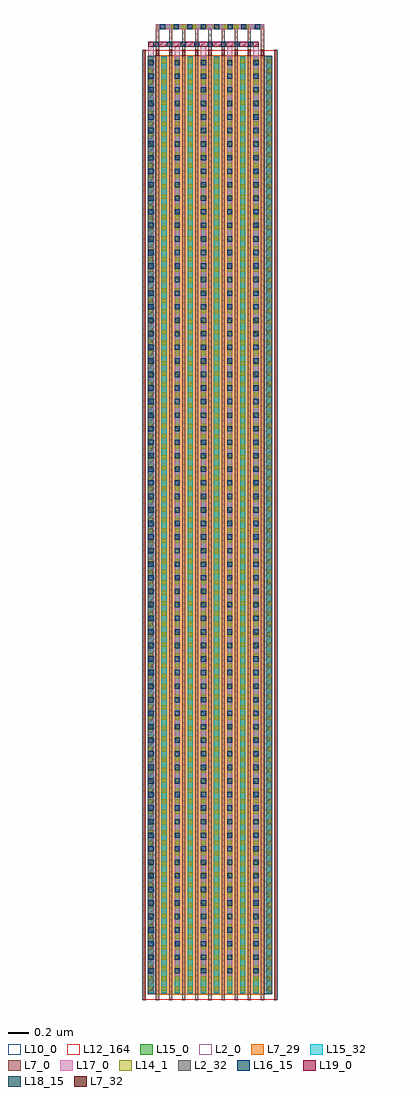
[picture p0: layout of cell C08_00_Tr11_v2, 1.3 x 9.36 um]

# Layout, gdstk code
import gdstk
lib = gdstk.Library(unit=1e-6, precision=1e-09)
def R(c, l, rs):  # rectangles x0, y0, x1, y1
    for r in rs: c.add(gdstk.rectangle(r[:2], r[2:], *l))
def A(c, l, x, y, w, h, nx, ny, dx, dy):  # array of equal rectangles
    R(c, l, [(x+i*dx, y+j*dy, x+i*dx+w, y+j*dy+h) for i in range(nx) for j in range(ny)])
L2_0 = (2, 0)
L2_32 = (2, 32)
L7_0 = (7, 0)
L7_29 = (7, 29)
L7_32 = (7, 32)
L10_0 = (10, 0)
L12_164 = (12, 164)
L14_1 = (14, 1)
L15_0 = (15, 0)
L15_32 = (15, 32)
L16_15 = (16, 15)
L17_0 = (17, 0)
L18_15 = (18, 15)
L19_0 = (19, 0)

c08_00_tr11_v2_srf_pmos_ = lib.new_cell('C08_00_Tr11_v2:SRF_Pmos:SRF_Source_ViaM1M2:SRF_ViaM1M2')
R(c08_00_tr11_v2_srf_pmos_, L15_0, [(0,-8.742,0.05,0.082)])
A(c08_00_tr11_v2_srf_pmos_, L16_15, 0, -8.71, 0.05, 0.05, 1, 68, 0, 0.13)
R(c08_00_tr11_v2_srf_pmos_, L17_0, [(0,-8.742,0.05,0.082)])

c_c08_00_tr11_v2_srf_pmos_ = lib.new_cell('C08_00_Tr11_v2:SRF_Pmos:SRF_Source_ViaM1M2')
c_c08_00_tr11_v2_srf_pmos_.add(gdstk.Reference(c08_00_tr11_v2_srf_pmos_, (-0.025,4.33)))

c_c08_00_tr11_v2_srf_pmos__ = lib.new_cell('C08_00_Tr11_v2:SRF_Pmos:SRF_Gate_ViaM0Mx:SRF_ViaM0M1')
R(c_c08_00_tr11_v2_srf_pmos__, L7_0, [(-0.01,-0.004,0.75,0.044)])
A(c_c08_00_tr11_v2_srf_pmos__, L14_1, 0, 0, 0.04, 0.04, 8, 1, 0.1, 0)
R(c_c08_00_tr11_v2_srf_pmos__, L15_0, [(-0.021,-0.005,0.761,0.045)])

c_c08_00_tr11_v2_srf_pmos___ = lib.new_cell('C08_00_Tr11_v2:SRF_Pmos:SRF_Gate_ViaM0Mx:SRF_ViaM1M2')
R(c_c08_00_tr11_v2_srf_pmos___, L15_0, [(-0.032,0,0.992,0.05)])
A(c_c08_00_tr11_v2_srf_pmos___, L16_15, 0, 0, 0.05, 0.05, 8, 1, 0.13, 0)
R(c_c08_00_tr11_v2_srf_pmos___, L17_0, [(-0.032,0,0.992,0.05)])

c_c08_00_tr11_v2_srf_pmos____ = lib.new_cell('C08_00_Tr11_v2:SRF_Pmos:SRF_Gate_ViaM0Mx')
c_c08_00_tr11_v2_srf_pmos____.add(gdstk.Reference(c_c08_00_tr11_v2_srf_pmos__, (-0.37,-0.02)))
c_c08_00_tr11_v2_srf_pmos____.add(gdstk.Reference(c_c08_00_tr11_v2_srf_pmos___, (-0.48,-0.025)))

c08_00_tr11_v2_srf_pmos = lib.new_cell('C08_00_Tr11_v2:SRF_Pmos')
R(c08_00_tr11_v2_srf_pmos, L2_0, [(-0.076,0.057,1.114,9.057)])
R(c08_00_tr11_v2_srf_pmos, L2_32, [(-0.076,0.057,0,9.057), (1.038,0.057,1.114,9.057)])
A(c08_00_tr11_v2_srf_pmos, L7_0, -0.126, 0, 0.03, 9.114, 11, 1, 0.126, 0)
A(c08_00_tr11_v2_srf_pmos, L7_0, 0, 9.114, 0.03, 0.2, 9, 1, 0.126, 0)
R(c08_00_tr11_v2_srf_pmos, L7_0, [(0,9.314,1.038,9.362)])
R(c08_00_tr11_v2_srf_pmos, L7_29, [(-0.005,0.052,1.043,9.062)])
A(c08_00_tr11_v2_srf_pmos, L7_32, 0, 9.057, 0.03, 0.057, 9, 1, 0.126, 0)
R(c08_00_tr11_v2_srf_pmos, L10_0, [(-0.132,0.001,1.17,9.113)])
R(c08_00_tr11_v2_srf_pmos, L12_164, [(-0.111,0.001,1.149,9.113)])
A(c08_00_tr11_v2_srf_pmos, L14_1, -0.068, 0.087, 0.04, 0.04, 10, 90, 0.126, 0.1)
R(c08_00_tr11_v2_srf_pmos, L15_0, [(-0.073,0.066,-0.023,9.048), (-0.073,0.066,-0.023,9.048), (0.053,0.066,0.103,9.048), (0.053,0.066,0.103,9.048), (0.179,0.066,0.229,9.048), (0.179,0.066,0.229,9.048), (0.305,0.066,0.355,9.048), (0.305,0.066,0.355,9.048), (0.431,0.066,0.481,9.048), (0.431,0.066,0.481,9.048), (0.557,0.066,0.607,9.048), (0.557,0.066,0.607,9.048), (0.683,0.066,0.733,9.048), (0.683,0.066,0.733,9.048), (0.809,0.066,0.859,9.048), (0.809,0.066,0.859,9.048), (0.935,0.066,0.985,9.048), (0.935,0.066,0.985,9.048), (1.061,0.066,1.111,9.048), (1.061,0.066,1.111,9.048)])
A(c08_00_tr11_v2_srf_pmos, L15_32, -0.073, 0.066, 0.05, 8.982, 10, 1, 0.126, 0)
A(c08_00_tr11_v2_srf_pmos, L17_0, -0.073, 9.048, 0.05, 0.095, 5, 1, 0.252, 0)
R(c08_00_tr11_v2_srf_pmos, L17_0, [(-0.073,9.143,0.985,9.193), (0,9.313,1.038,9.363)])
c08_00_tr11_v2_srf_pmos.add(gdstk.Reference(c_c08_00_tr11_v2_srf_pmos_, (-0.048,4.636)))
c08_00_tr11_v2_srf_pmos.add(gdstk.Reference(c_c08_00_tr11_v2_srf_pmos_, (0.204,4.636)))
c08_00_tr11_v2_srf_pmos.add(gdstk.Reference(c_c08_00_tr11_v2_srf_pmos_, (0.456,4.636)))
c08_00_tr11_v2_srf_pmos.add(gdstk.Reference(c_c08_00_tr11_v2_srf_pmos_, (0.708,4.636)))
c08_00_tr11_v2_srf_pmos.add(gdstk.Reference(c_c08_00_tr11_v2_srf_pmos_, (0.96,4.636)))
c08_00_tr11_v2_srf_pmos.add(gdstk.Reference(c_c08_00_tr11_v2_srf_pmos____, (0.519,9.338)))

c08_00_tr11_v2_srf_sourc = lib.new_cell('C08_00_Tr11_v2:SRF_Source_ViaM2M3:SRF_ViaM2M3')
R(c08_00_tr11_v2_srf_sourc, L17_0, [(-0.032,0,0.992,0.05)])
A(c08_00_tr11_v2_srf_sourc, L18_15, 0, 0, 0.05, 0.05, 8, 1, 0.13, 0)
R(c08_00_tr11_v2_srf_sourc, L19_0, [(-0.032,0,0.992,0.05)])

c_c08_00_tr11_v2_srf_sourc = lib.new_cell('C08_00_Tr11_v2:SRF_Source_ViaM2M3')
c_c08_00_tr11_v2_srf_sourc.add(gdstk.Reference(c08_00_tr11_v2_srf_sourc, (-0.48,-0.025)))

c08_00_tr11_v2 = lib.new_cell('C08_00_Tr11_v2')
R(c08_00_tr11_v2, L19_0, [(-0.073,9.143,0.985,9.193)])
c08_00_tr11_v2.add(gdstk.Reference(c08_00_tr11_v2_srf_pmos, (0,0)))
c08_00_tr11_v2.add(gdstk.Reference(c_c08_00_tr11_v2_srf_sourc, (0.456,9.168)))

lib.write_gds('C08_00_Tr11_v2.gds')
